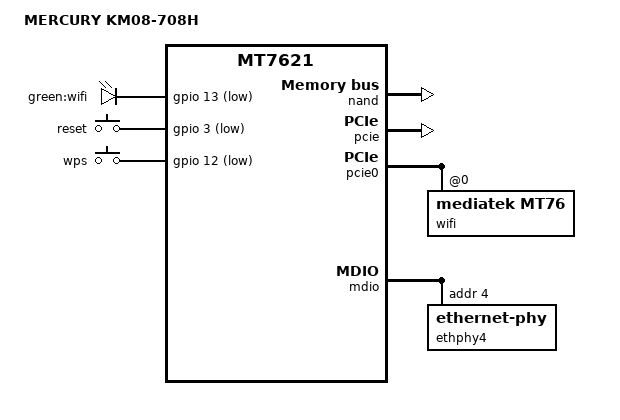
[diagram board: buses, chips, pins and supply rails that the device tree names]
// SPDX-License-Identifier: GPL-2.0-or-later OR MIT

#include "mt7621.dtsi"

#include <dt-bindings/gpio/gpio.h>
#include <dt-bindings/input/input.h>

/ {
	compatible = "mercury,km08-708h", "mediatek,mt7621-soc";
	model = "MERCURY KM08-708H";

	aliases {
		led-boot = &WIFI;
		led-failsafe = &WIFI;
		led-upgrade = &WIFI;
		label-mac-device = &gmac0;
	};

	leds {
		compatible = "gpio-leds";


		WIFI  {
			label = "green:wifi";
			gpios = <&gpio 13 GPIO_ACTIVE_LOW>;
			linux,default-trigger = "phy0radio";
		};
	};

	keys {
		compatible = "gpio-keys";

		reset {
			label = "reset";
			gpios = <&gpio 3 GPIO_ACTIVE_LOW>;
			linux,code = <KEY_RESTART>;
			debounce-interval = <20>;
		};

		wps {
			label = "wps";
			gpios = <&gpio 12 GPIO_ACTIVE_LOW>;
			linux,code = <KEY_WPS_BUTTON>;
		};

	};
};

&nand {
	status = "okay";

	partitions {
		compatible = "fixed-partitions";
		#address-cells = <1>;
		#size-cells = <1>;

		partition@0 {
			label = "Bootloader";
			reg = <0x0 0x80000>;
			read-only;
		};

		partition@80000 {
			label = "Config";
			reg = <0x80000 0x80000>;
			read-only;

			compatible = "nvmem-cells";
			#address-cells = <1>;
			#size-cells = <1>;

			macaddr_config_8014: macaddr@8014 {
				reg = <0x8014 0x11>;
			};

			macaddr_config_8036: macaddr@8036 {
				reg = <0x8036 0x11>;
			};
		};

		factory: partition@100000 {
			label = "Factory";
			reg = <0x100000 0x40000>;
			read-only;

			compatible = "nvmem-cells";
			#address-cells = <1>;
			#size-cells = <1>;

			macaddr_factory_4: macaddr@4 {
				reg = <0x4 0x6>;
			};
		};

		partition@140000 {
			label = "kernel";
			reg = <0x140000 0x400000>;
		};

		partition@540000 {
			label = "ubi";
			reg = <0x540000 0x7a40000>;
		};
	};
};

&pcie {
	status = "okay";
};

&pcie0 {
	wifi@0,0 {
		compatible = "mediatek,mt76";
		reg = <0x0000 0 0 0 0>;
		mediatek,mtd-eeprom = <&factory 0x0>;
		/* 5 GHz (phy1) does not take the address from calibration data,
		   but setting it manually here works */
		nvmem-cells = <&macaddr_factory_4>;
		nvmem-cell-names = "mac-address";
	};
};

&gmac0 {
	nvmem-cells = <&macaddr_config_8014>;
	nvmem-cell-names = "mac-address-ascii";
};


&mdio {
	ethphy4: ethernet-phy@4 {
		reg = <4>;
	};
};

&switch0 {
	ports {
		port@0 {
			status = "okay";
			label = "Wan";
			nvmem-cells = <&macaddr_factory_4>;
			nvmem-cell-names = "mac-address";
			mac-address-increment = <1>;
		};

		port@1 {
			status = "okay";
			label = "lan4";
		};

		port@2 {
			status = "okay";
			label = "lan3";
		};

		port@3 {
			status = "okay";
			label = "lan2";
		};

		port@4 {
			status = "okay";
			label = "lan1";
		};
	};
};

&state_default {
	gpio {
		groups = "i2c", "jtag", "uart3", "wdt";
		function = "gpio";
	};
};
